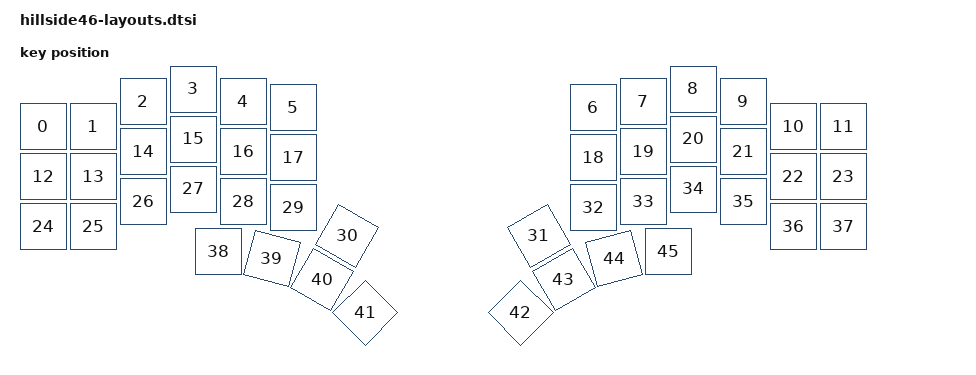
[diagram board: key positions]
#include <physical_layouts.dtsi>

 / {
    hillside46_layout: hillside46_layout {
        compatible = "zmk,physical-layout";
        display-name = "Hillside 46";
        // Hook this up to your existing matrix transform and kscan labels:
        transform = <&default_transform>;
        kscan = <&kscan0>;

        keys  //                     w   h    x    y     rot    rx    ry
            = <&key_physical_attrs 100 100    0   75       0     0     0>
            , <&key_physical_attrs 100 100  100   75       0     0     0>
            , <&key_physical_attrs 100 100  200   25       0     0     0>
            , <&key_physical_attrs 100 100  300    0       0     0     0>
            , <&key_physical_attrs 100 100  400   25       0     0     0>
            , <&key_physical_attrs 100 100  500   37       0     0     0>
            , <&key_physical_attrs 100 100 1100   37       0     0     0>
            , <&key_physical_attrs 100 100 1200   25       0     0     0>
            , <&key_physical_attrs 100 100 1300    0       0     0     0>
            , <&key_physical_attrs 100 100 1400   25       0     0     0>
            , <&key_physical_attrs 100 100 1500   75       0     0     0>
            , <&key_physical_attrs 100 100 1600   75       0     0     0>
            , <&key_physical_attrs 100 100    0  175       0     0     0>
            , <&key_physical_attrs 100 100  100  175       0     0     0>
            , <&key_physical_attrs 100 100  200  125       0     0     0>
            , <&key_physical_attrs 100 100  300  100       0     0     0>
            , <&key_physical_attrs 100 100  400  125       0     0     0>
            , <&key_physical_attrs 100 100  500  137       0     0     0>
            , <&key_physical_attrs 100 100 1100  137       0     0     0>
            , <&key_physical_attrs 100 100 1200  125       0     0     0>
            , <&key_physical_attrs 100 100 1300  100       0     0     0>
            , <&key_physical_attrs 100 100 1400  125       0     0     0>
            , <&key_physical_attrs 100 100 1500  175       0     0     0>
            , <&key_physical_attrs 100 100 1600  175       0     0     0>
            
            , <&key_physical_attrs 100 100    0  275       0     0     0>
            , <&key_physical_attrs 100 100  100  275       0     0     0>
            
            , <&key_physical_attrs 100 100  200  225       0     0     0>
            , <&key_physical_attrs 100 100  300  200       0     0     0>
            
            , <&key_physical_attrs 100 100  400  225       0     0     0>
            , <&key_physical_attrs 100 100  500  237       0     0     0>
            
            , <&key_physical_attrs 100 100  350  225    3000   400   792>
            
            , <&key_physical_attrs 100 100 1250  225 (-3000)  1300   792>
            
            , <&key_physical_attrs 100 100 1100  237       0     0     0>
            , <&key_physical_attrs 100 100 1200  225       0     0     0>
            , <&key_physical_attrs 100 100 1300  200       0     0     0>
            , <&key_physical_attrs 100 100 1400  225       0     0     0>
            , <&key_physical_attrs 100 100 1500  275       0     0     0>
            , <&key_physical_attrs 100 100 1600  275       0     0     0>
            
            , <&key_physical_attrs 100 100  350  325       0     0     0>
            
            , <&key_physical_attrs 100 100  350  325    1500   400   792>
            , <&key_physical_attrs 100 100  350  325    3000   400   792>
            , <&key_physical_attrs 100 100  350  325    4500   400   792>
            
            , <&key_physical_attrs 100 100 1250  325 (-4500)  1300   792>
            , <&key_physical_attrs 100 100 1250  325 (-3000)  1300   792>
            , <&key_physical_attrs 100 100 1250  325 (-1500)  1300   792>
            
            , <&key_physical_attrs 100 100 1250  325       0     0     0>
            ;
    };

    hillside46_position_map {
        compatible = "zmk,physical-layout-position-map";
        complete;

        twelve: twelve {
            physical-layout = <&hillside46_layout>;
            positions = 
            <  0  1  2  3  4  5                6  7  8  9 10 11 >,
            < 12 13 14 15 16 17               18 19 20 21 22 23 >,
            < 24 25 26 27 28 29 30         31 32 33 34 35 36 37 >,
            <             38 39 40 41   42 43 44 45 >;
        }

    };
};
